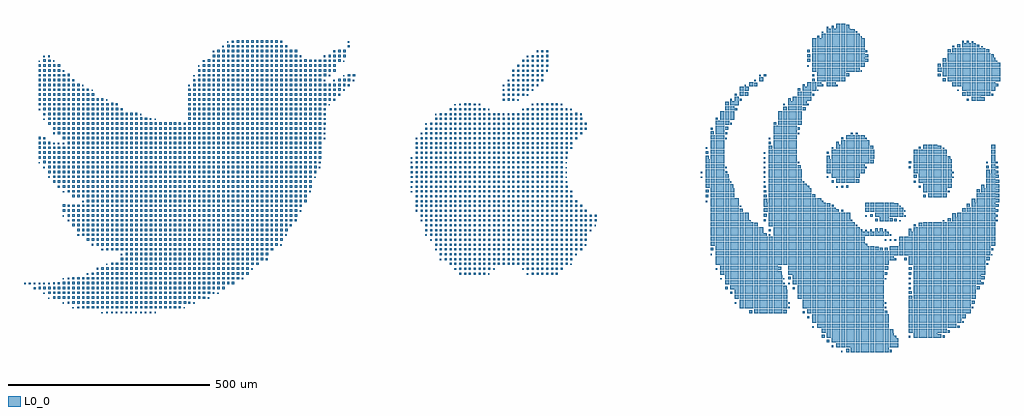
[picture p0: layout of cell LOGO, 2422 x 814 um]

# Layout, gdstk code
import gdstk
lib = gdstk.Library(unit=1e-6, precision=1e-09)
def R(c, l, rs):  # rectangles x0, y0, x1, y1
    for r in rs: c.add(gdstk.rectangle(r[:2], r[2:], *l))
def A(c, l, x, y, w, h, nx, ny, dx, dy):  # array of equal rectangles
    R(c, l, [(x+i*dx, y+j*dy, x+i*dx+w, y+j*dy+h) for i in range(nx) for j in range(ny)])
L0_0 = (0, 0)

logo = lib.new_cell('LOGO')
A(logo, L0_0, 2310, 222, 10, 10, 8, 1, 12, 0)
A(logo, L0_0, 2274, 234, 10, 10, 13, 1, 12, 0)
A(logo, L0_0, 2262, 246, 10, 10, 14, 1, 12, 0)
A(logo, L0_0, 2250, 258, 10, 10, 14, 1, 12, 0)
A(logo, L0_0, 2466, 258, 10, 10, 5, 1, 12, 0)
A(logo, L0_0, 2238, 270, 10, 10, 14, 1, 12, 0)
A(logo, L0_0, 2454, 270, 10, 10, 8, 1, 12, 0)
A(logo, L0_0, 2226, 282, 10, 10, 15, 1, 12, 0)
A(logo, L0_0, 2454, 282, 10, 10, 10, 1, 12, 0)
A(logo, L0_0, 2214, 294, 10, 10, 16, 2, 12, 12)
A(logo, L0_0, 2454, 294, 10, 10, 11, 2, 12, 12)
A(logo, L0_0, 474, 318, 3.84, 3.84, 8, 1, 12, 0)
A(logo, L0_0, 2070, 318, 10, 10, 6, 1, 12, 0)
A(logo, L0_0, 2202, 318, 10, 10, 16, 1, 12, 0)
A(logo, L0_0, 2454, 318, 10, 10, 13, 3, 12, 12)
A(logo, L0_0, 438, 330, 5.828, 5.828, 15, 1, 12, 0)
A(logo, L0_0, 2034, 330, 10, 10, 10, 2, 12, 12)
A(logo, L0_0, 2190, 330, 10, 10, 17, 3, 12, 12)
A(logo, L0_0, 378, 342, 5.828, 5.828, 23, 1, 12, 0)
A(logo, L0_0, 390, 354, 5.828, 5.828, 26, 1, 12, 0)
A(logo, L0_0, 2022, 354, 10, 10, 11, 2, 12, 12)
A(logo, L0_0, 2466, 354, 10, 10, 13, 3, 12, 12)
A(logo, L0_0, 330, 366, 5.828, 5.828, 3, 1, 12, 0)
A(logo, L0_0, 390, 366, 5.828, 5.828, 27, 1, 12, 0)
A(logo, L0_0, 2178, 366, 10, 10, 18, 2, 12, 12)
A(logo, L0_0, 294, 378, 5.828, 5.828, 39, 1, 12, 0)
A(logo, L0_0, 2010, 378, 10, 10, 11, 1, 12, 0)
A(logo, L0_0, 282, 390, 3.84, 3.84, 3, 1, 12, 0)
A(logo, L0_0, 354, 390, 6.024, 6.024, 1, 3, 0, 180)
A(logo, L0_0, 378, 390, 5.828, 5.828, 33, 1, 12, 0)
A(logo, L0_0, 1998, 390, 10, 10, 12, 2, 12, 12)
A(logo, L0_0, 2166, 390, 10, 10, 19, 2, 12, 12)
A(logo, L0_0, 2466, 390, 10, 10, 14, 2, 12, 12)
A(logo, L0_0, 402, 402, 5.828, 5.828, 32, 1, 12, 0)
A(logo, L0_0, 438, 414, 5.828, 5.828, 31, 1, 12, 0)
A(logo, L0_0, 1350, 414, 4.988, 4.988, 3, 1, 12, 0)
A(logo, L0_0, 1542, 414, 4.988, 4.988, 3, 1, 12, 0)
A(logo, L0_0, 1998, 414, 10, 10, 11, 1, 12, 0)
A(logo, L0_0, 2154, 414, 10, 10, 20, 2, 12, 12)
A(logo, L0_0, 2466, 414, 10, 10, 15, 2, 12, 12)
A(logo, L0_0, 450, 426, 5.828, 5.828, 31, 1, 12, 0)
A(logo, L0_0, 1338, 426, 4.988, 4.988, 6, 1, 12, 0)
A(logo, L0_0, 1518, 426, 4.988, 4.988, 7, 1, 12, 0)
A(logo, L0_0, 1986, 426, 10, 10, 12, 1, 12, 0)
A(logo, L0_0, 486, 438, 5.828, 5.828, 29, 1, 12, 0)
A(logo, L0_0, 1326, 438, 4.988, 4.988, 23, 1, 12, 0)
A(logo, L0_0, 1974, 438, 10, 10, 36, 1, 12, 0)
A(logo, L0_0, 2454, 438, 10, 10, 16, 2, 12, 12)
A(logo, L0_0, 510, 450, 5.828, 5.828, 28, 1, 12, 0)
A(logo, L0_0, 1314, 450, 4.988, 4.988, 26, 1, 12, 0)
A(logo, L0_0, 1974, 450, 10, 10, 37, 1, 12, 0)
A(logo, L0_0, 510, 462, 5.828, 5.828, 29, 1, 12, 0)
A(logo, L0_0, 1290, 462, 4.988, 4.988, 28, 1, 12, 0)
A(logo, L0_0, 1974, 462, 10, 10, 57, 1, 12, 0)
A(logo, L0_0, 486, 474, 5.828, 5.828, 32, 1, 12, 0)
A(logo, L0_0, 1290, 474, 4.988, 4.988, 30, 1, 12, 0)
A(logo, L0_0, 1974, 474, 10, 10, 33, 1, 12, 0)
A(logo, L0_0, 2406, 474, 10, 10, 21, 1, 12, 0)
A(logo, L0_0, 438, 486, 5.828, 5.828, 38, 2, 12, 12)
A(logo, L0_0, 1278, 486, 4.988, 4.988, 31, 2, 12, 12)
A(logo, L0_0, 1962, 486, 10, 10, 32, 2, 12, 12)
A(logo, L0_0, 2430, 486, 10, 10, 20, 2, 12, 12)
A(logo, L0_0, 414, 510, 5.828, 5.828, 41, 1, 12, 0)
A(logo, L0_0, 1278, 510, 4.988, 4.988, 32, 1, 12, 0)
A(logo, L0_0, 1962, 510, 10, 10, 11, 2, 12, 12)
A(logo, L0_0, 2118, 510, 10, 10, 24, 1, 12, 0)
A(logo, L0_0, 2454, 510, 10, 10, 18, 1, 12, 0)
A(logo, L0_0, 402, 522, 5.828, 5.828, 42, 1, 12, 0)
A(logo, L0_0, 1254, 522, 4.988, 4.988, 34, 2, 12, 12)
A(logo, L0_0, 2118, 522, 10, 10, 18, 1, 12, 0)
A(logo, L0_0, 2466, 522, 10, 10, 17, 1, 12, 0)
A(logo, L0_0, 390, 534, 5.828, 5.828, 44, 1, 12, 0)
A(logo, L0_0, 1962, 534, 10, 10, 9, 1, 12, 0)
A(logo, L0_0, 2118, 534, 10, 10, 17, 1, 12, 0)
A(logo, L0_0, 2502, 534, 10, 10, 14, 1, 12, 0)
A(logo, L0_0, 390, 546, 5.828, 5.828, 45, 1, 12, 0)
A(logo, L0_0, 1254, 546, 4.988, 4.988, 36, 1, 12, 0)
A(logo, L0_0, 1962, 546, 10, 10, 8, 2, 12, 12)
A(logo, L0_0, 2106, 546, 10, 10, 17, 2, 12, 12)
A(logo, L0_0, 2562, 546, 10, 10, 9, 2, 12, 336)
A(logo, L0_0, 378, 558, 5.8, 5.8, 3, 1, 12, 0)
A(logo, L0_0, 414, 558, 5.828, 5.828, 43, 1, 12, 0)
A(logo, L0_0, 1254, 558, 4.988, 4.988, 34, 1, 12, 0)
A(logo, L0_0, 2370, 558, 10, 10, 6, 1, 12, 0)
A(logo, L0_0, 2574, 558, 10, 10, 8, 1, 12, 0)
A(logo, L0_0, 366, 570, 5.828, 5.828, 48, 1, 12, 0)
A(logo, L0_0, 1242, 570, 4.988, 4.988, 34, 1, 12, 0)
A(logo, L0_0, 1962, 570, 10, 10, 6, 3, 12, 12)
A(logo, L0_0, 2106, 570, 10, 10, 14, 1, 12, 0)
A(logo, L0_0, 2346, 570, 10, 10, 8, 1, 12, 0)
A(logo, L0_0, 2598, 570, 10, 10, 6, 1, 12, 0)
A(logo, L0_0, 366, 582, 5.828, 5.828, 3, 1, 24, 0)
A(logo, L0_0, 426, 582, 5.828, 5.828, 44, 1, 12, 0)
A(logo, L0_0, 1242, 582, 4.988, 4.988, 33, 1, 12, 0)
A(logo, L0_0, 2094, 582, 10, 10, 13, 1, 12, 0)
A(logo, L0_0, 2346, 582, 10, 10, 6, 1, 12, 0)
A(logo, L0_0, 2610, 582, 10, 10, 5, 1, 12, 0)
A(logo, L0_0, 426, 594, 5.828, 5.828, 45, 1, 12, 0)
A(logo, L0_0, 1242, 594, 4.988, 4.988, 32, 2, 12, 144)
A(logo, L0_0, 2106, 594, 10, 10, 11, 1, 12, 0)
A(logo, L0_0, 2622, 594, 10, 10, 4, 2, 12, 12)
A(logo, L0_0, 378, 606, 5.828, 5.828, 49, 2, 12, 12)
A(logo, L0_0, 1230, 606, 4.988, 4.988, 32, 3, 12, 12)
A(logo, L0_0, 1962, 606, 10, 10, 5, 2, 12, 12)
A(logo, L0_0, 2106, 606, 10, 10, 9, 2, 12, 12)
A(logo, L0_0, 2502, 606, 10, 10, 4, 1, 12, 0)
A(logo, L0_0, 2490, 618, 10, 10, 5, 1, 12, 0)
A(logo, L0_0, 2634, 618, 10, 10, 3, 1, 12, 0)
A(logo, L0_0, 354, 630, 5.828, 5.828, 51, 1, 12, 0)
A(logo, L0_0, 1962, 630, 10, 10, 4, 1, 12, 0)
A(logo, L0_0, 2106, 630, 10, 10, 8, 1, 12, 0)
A(logo, L0_0, 2490, 630, 10, 10, 6, 1, 12, 0)
A(logo, L0_0, 2646, 630, 10, 10, 1, 3, 0, 12)
A(logo, L0_0, 2658, 630, 10, 10, 1, 9, 0, 12)
A(logo, L0_0, 342, 642, 5.828, 5.828, 53, 1, 12, 0)
A(logo, L0_0, 1230, 642, 4.988, 4.988, 31, 6, 12, 12)
A(logo, L0_0, 1950, 642, 10, 10, 5, 1, 12, 0)
A(logo, L0_0, 2106, 642, 10, 10, 7, 3, 12, 12)
A(logo, L0_0, 2274, 642, 10, 10, 4, 1, 12, 0)
A(logo, L0_0, 2478, 642, 10, 10, 7, 2, 12, 12)
A(logo, L0_0, 330, 654, 5.828, 5.828, 54, 2, 12, 12)
A(logo, L0_0, 1218, 654, 4.456, 4.456, 1, 3, 0, 12)
A(logo, L0_0, 1950, 654, 10, 10, 4, 4, 12, 12)
A(logo, L0_0, 2262, 654, 10, 10, 6, 1, 12, 0)
A(logo, L0_0, 2094, 666, 3.952, 3.952, 1, 3, 0, 12)
A(logo, L0_0, 2250, 666, 10, 10, 8, 2, 12, 12)
A(logo, L0_0, 2466, 666, 10, 10, 8, 3, 12, 12)
A(logo, L0_0, 318, 678, 5.828, 5.828, 55, 1, 12, 0)
A(logo, L0_0, 2106, 678, 10, 10, 6, 4, 12, 12)
A(logo, L0_0, 318, 690, 5.828, 5.828, 56, 1, 12, 0)
A(logo, L0_0, 2250, 690, 10, 10, 9, 1, 12, 0)
A(logo, L0_0, 306, 702, 5.828, 5.828, 57, 2, 12, 12)
A(logo, L0_0, 1962, 702, 10, 10, 3, 5, 12, 12)
A(logo, L0_0, 2262, 702, 10, 10, 9, 2, 12, 12)
A(logo, L0_0, 2466, 702, 10, 10, 7, 2, 12, 12)
A(logo, L0_0, 1230, 714, 4.988, 4.988, 32, 2, 12, 12)
A(logo, L0_0, 306, 726, 5.828, 5.828, 5, 1, 12, 0)
A(logo, L0_0, 378, 726, 5.828, 5.828, 52, 1, 12, 0)
A(logo, L0_0, 2118, 726, 10, 10, 5, 5, 12, 12)
A(logo, L0_0, 2274, 726, 10, 10, 7, 1, 12, 0)
A(logo, L0_0, 2490, 726, 10, 10, 3, 1, 12, 0)
A(logo, L0_0, 366, 738, 5.828, 5.828, 53, 3, 12, 12)
A(logo, L0_0, 2286, 738, 10, 10, 5, 1, 12, 0)
A(logo, L0_0, 1254, 750, 4.988, 4.988, 31, 1, 12, 0)
A(logo, L0_0, 2298, 750, 10, 10, 4, 1, 12, 0)
A(logo, L0_0, 1254, 762, 4.988, 4.988, 32, 1, 12, 0)
A(logo, L0_0, 342, 774, 5.828, 5.828, 55, 1, 12, 0)
A(logo, L0_0, 1266, 774, 4.988, 4.988, 32, 1, 12, 0)
A(logo, L0_0, 318, 786, 5.828, 5.828, 24, 1, 12, 0)
A(logo, L0_0, 666, 786, 5.828, 5.828, 28, 2, 12, 24)
A(logo, L0_0, 1278, 786, 4.988, 4.988, 31, 1, 12, 0)
A(logo, L0_0, 1974, 786, 10, 10, 3, 1, 12, 0)
A(logo, L0_0, 2130, 786, 10, 10, 5, 3, 12, 12)
A(logo, L0_0, 318, 798, 5.828, 5.828, 19, 1, 12, 0)
A(logo, L0_0, 678, 798, 5.828, 5.828, 27, 1, 12, 0)
A(logo, L0_0, 1278, 798, 4.988, 4.988, 30, 1, 12, 0)
A(logo, L0_0, 1986, 798, 10, 10, 3, 2, 12, 12)
A(logo, L0_0, 318, 810, 5.828, 5.828, 17, 1, 12, 0)
A(logo, L0_0, 1302, 810, 4.988, 4.988, 12, 1, 12, 0)
A(logo, L0_0, 1494, 810, 4.988, 4.988, 11, 1, 12, 0)
A(logo, L0_0, 318, 822, 5.828, 5.828, 15, 1, 12, 0)
A(logo, L0_0, 666, 822, 5.828, 5.828, 28, 2, 12, 12)
A(logo, L0_0, 1338, 822, 4.988, 4.988, 4, 1, 12, 0)
A(logo, L0_0, 1530, 822, 4.988, 4.988, 5, 1, 12, 0)
A(logo, L0_0, 2154, 822, 10, 10, 3, 1, 12, 0)
A(logo, L0_0, 306, 834, 5.828, 5.828, 14, 1, 12, 0)
A(logo, L0_0, 2154, 834, 10, 10, 4, 1, 12, 0)
A(logo, L0_0, 306, 846, 5.828, 5.828, 12, 1, 12, 0)
A(logo, L0_0, 678, 846, 5.828, 5.828, 29, 1, 12, 0)
A(logo, L0_0, 2166, 846, 10, 10, 4, 1, 12, 0)
A(logo, L0_0, 294, 858, 5.828, 5.828, 11, 1, 12, 0)
A(logo, L0_0, 678, 858, 5.828, 5.828, 30, 1, 12, 0)
A(logo, L0_0, 1458, 858, 4.988, 4.988, 3, 1, 12, 0)
A(logo, L0_0, 2178, 858, 10, 10, 3, 1, 12, 0)
A(logo, L0_0, 2598, 858, 10, 10, 5, 1, 12, 0)
A(logo, L0_0, 294, 870, 5.828, 5.828, 10, 1, 12, 0)
A(logo, L0_0, 666, 870, 5.828, 5.828, 31, 1, 12, 0)
A(logo, L0_0, 1458, 870, 4.988, 4.988, 4, 1, 12, 0)
A(logo, L0_0, 2190, 870, 10, 10, 3, 1, 12, 0)
A(logo, L0_0, 2586, 870, 10, 10, 7, 1, 12, 0)
A(logo, L0_0, 294, 882, 5.828, 5.828, 7, 2, 12, 12)
A(logo, L0_0, 678, 882, 5.828, 5.828, 28, 1, 12, 0)
A(logo, L0_0, 1470, 882, 4.988, 4.988, 5, 1, 12, 0)
A(logo, L0_0, 2202, 882, 10, 10, 3, 1, 12, 0)
A(logo, L0_0, 690, 894, 5.828, 5.828, 26, 2, 12, 12)
A(logo, L0_0, 1470, 894, 4.988, 4.988, 6, 2, 12, 12)
A(logo, L0_0, 2226, 894, 10, 10, 6, 2, 12, 12)
A(logo, L0_0, 2550, 894, 10, 10, 11, 1, 12, 0)
A(logo, L0_0, 294, 906, 5.828, 5.828, 6, 1, 12, 0)
A(logo, L0_0, 2538, 906, 10, 10, 12, 2, 12, 24)
A(logo, L0_0, 306, 918, 5.828, 5.828, 4, 2, 12, 12)
A(logo, L0_0, 702, 918, 5.828, 5.828, 27, 2, 12, 12)
A(logo, L0_0, 1482, 918, 4.988, 4.988, 6, 1, 12, 0)
A(logo, L0_0, 2214, 918, 10, 10, 10, 1, 12, 0)
A(logo, L0_0, 2526, 918, 10, 10, 13, 1, 12, 0)
A(logo, L0_0, 1494, 930, 4.988, 4.988, 5, 1, 12, 0)
A(logo, L0_0, 2214, 930, 10, 10, 11, 6, 12, 12)
A(logo, L0_0, 726, 942, 5.828, 5.828, 19, 1, 12, 0)
A(logo, L0_0, 1506, 942, 4.988, 4.988, 4, 1, 12, 0)
A(logo, L0_0, 2550, 942, 10, 10, 10, 1, 12, 0)
A(logo, L0_0, 738, 954, 5.828, 5.828, 17, 1, 12, 0)
A(logo, L0_0, 2550, 954, 10, 10, 9, 1, 12, 0)
A(logo, L0_0, 738, 966, 5.828, 5.828, 3, 1, 12, 0)
A(logo, L0_0, 798, 966, 5.828, 5.828, 8, 2, 12, 24)
A(logo, L0_0, 2562, 966, 10, 10, 7, 1, 12, 0)
A(logo, L0_0, 774, 978, 5.828, 5.828, 11, 1, 12, 0)
A(logo, L0_0, 2586, 978, 10, 10, 3, 1, 12, 0)
A(logo, L0_0, 2238, 1002, 10, 10, 8, 1, 12, 0)
A(logo, L0_0, 2250, 1014, 10, 10, 5, 1, 12, 0)
R(logo, L0_0, [(2286,222,2289.112,225.112), (2298,222,2306.46,230.46), (2406,222,2411.94,227.94), (2262,234,2266.26,238.26), (2250,246,2255.94,251.94), (2238,258,2245.424,265.424), (2418,258,2422.54,262.54), (2454,258,2457.84,261.84), (2526,258,2534.46,266.46), (2538,258,2543.128,263.128), (2406,270,2414.6,278.6), (2550,270,2555.52,275.52), (2214,282,2218.176,286.176), (2574,282,2579.52,287.52), (2586,294,2590.176,298.176), (2202,306,2206.176,310.176), (2586,306,2595.328,315.328), (450,318,453.168,321.168), (462,318,465.728,321.728), (570,318,573.728,321.728), (582,318,585.476,321.476), (2058,318,2065.116,325.116), (2142,318,2150.6,326.6), (2190,318,2195.128,323.128), (2394,318,2400.752,324.752), (378,330,381.168,333.168), (390,330,394.624,334.624), (402,330,407.576,335.576), (414,330,420.024,336.024), (426,330,432.024,336.024), (618,330,624.024,336.024), (630,330,635.828,335.828), (642,330,647.184,335.184), (654,330,657.476,333.476), (2154,330,2157.84,333.84), (2394,330,2398.26,334.26), (2610,330,2613.84,333.84), (354,342,357.168,345.168), (366,342,370.176,346.176), (654,342,660.024,348.024), (666,342,670.876,346.876), (678,342,681.728,345.728), (2022,342,2025.952,345.952), (2154,342,2157.672,345.672), (2394,342,2397.392,345.392), (2610,342,2617.116,349.116), (318,354,321.168,357.168), (330,354,335.828,359.828), (342,354,348.024,360.024), (354,354,359.828,359.828), (366,354,371.8,359.8), (378,354,383.8,359.8), (702,354,707.576,359.576), (714,354,718.176,358.176), (2178,354,2187.552,363.552), (2454,354,2461.928,361.928), (306,366,309.476,369.476), (318,366,324.024,372.024), (366,366,371.8,371.8), (378,366,383.8,371.8), (714,366,720.024,372.024), (726,366,730.512,370.512), (738,366,741.14,369.14), (2010,366,2015.52,371.52), (2454,366,2460.752,372.752), (282,378,286.876,382.876), (1998,378,2004.388,384.388), (2142,378,2150.46,386.46), (2166,378,2170.54,382.54), (2454,378,2459.1,383.1), (2622,378,2629.76,385.76), (258,390,262.4,394.4), (270,390,274.4,394.4), (318,390,322.176,394.176), (330,390,334.876,394.876), (342,390,347.184,395.184), (366,390,372.024,396.024), (774,390,780.024,396.024), (2142,390,2146.176,394.176), (2154,390,2157.952,393.952), (2454,390,2458.456,394.456), (2634,390,2639.52,395.52), (354,402,357.14,405.14), (366,402,369.84,405.84), (378,402,383.212,407.212), (390,402,396.024,408.024), (786,402,791.772,407.772), (798,402,801.728,405.728), (1986,402,1989.112,405.112), (2142,402,2145.112,405.112), (2154,402,2161.116,409.116), (2394,402,2397.392,405.392), (2454,402,2458.456,406.456), (2634,402,2641.928,409.928), (414,414,417.84,417.84), (426,414,431.184,419.184), (810,414,815.576,419.576), (1338,414,1342.904,418.904), (1386,414,1391.1,419.1), (1398,414,1402.904,418.904), (1410,414,1413.112,417.112), (1506,414,1509.672,417.672), (1518,414,1522.54,418.54), (1530,414,1535.1,419.1), (1578,414,1583.1,419.1), (1986,414,1995.552,423.552), (2130,414,2137.928,421.928), (2394,414,2399.688,419.688), (2454,414,2459.52,419.52), (438,426,442.624,430.624), (822,426,825.476,429.476), (1326,426,1330.26,430.26), (1410,426,1415.1,431.1), (1422,426,1426.456,430.456), (1494,426,1497.952,429.952), (1506,426,1511.1,431.1), (1974,426,1978.456,430.456), (2130,426,2137.368,433.368), (2394,426,2402.46,434.46), (2454,426,2460.388,432.388), (462,438,465.168,441.168), (474,438,480.024,444.024), (834,438,840.024,444.024), (1314,438,1319.128,443.128), (1602,438,1607.128,443.128), (1614,438,1617.392,441.392), (2646,438,2650.456,442.456), (498,450,504.024,456.024), (846,450,852.024,456.024), (858,450,862.624,454.624), (1290,450,1293.392,453.392), (1302,450,1307.1,455.1), (2418,450,2423.128,455.128), (2442,450,2448.08,456.08), (2646,450,2654.46,458.46), (498,462,501.728,465.728), (858,462,864.024,468.024), (1626,462,1630.26,466.26), (1962,462,1965.308,465.308), (2658,462,2661.112,465.112), (450,474,454.176,478.176), (462,474,467.184,479.184), (474,474,480.024,480.024), (870,474,876.024,480.024), (1278,474,1281.952,477.952), (1962,474,1968.388,480.388), (2370,474,2378.908,482.908), (2382,474,2389.116,481.116), (2394,474,2401.116,481.116), (2658,474,2663.688,479.688), (426,486,430.456,490.456), (894,486,897.168,489.168), (1650,486,1653.392,489.392), (2346,486,2350.988,490.988), (414,498,419.772,503.772), (426,498,432.08,504.08), (894,498,899.772,503.772), (1266,498,1269.672,501.672), (1650,498,1654.708,502.708), (2394,498,2397.392,501.392), (2406,498,2410.26,502.26), (2418,498,2422.26,502.26), (390,510,394.512,514.512), (402,510,408.024,516.024), (906,510,910.176,514.176), (1254,510,1257.84,513.84), (1266,510,1271.1,515.1), (2094,510,2100.808,516.808), (2106,510,2110.456,514.456), (2406,510,2410.54,514.54), (390,522,396.024,528.024), (906,522,912.024,528.024), (1662,522,1665.672,525.672), (2106,522,2110.54,526.54), (2334,522,2338.456,526.456), (2346,522,2349.392,525.392), (2358,522,2362.26,526.26), (2370,522,2377.116,529.116), (2382,522,2389.116,529.116), (2394,522,2398.26,526.26), (2454,522,2459.52,527.52), (378,534,384.024,540.024), (918,534,922.456,538.456), (1662,534,1667.128,539.128), (1674,534,1677.392,537.392), (2070,534,2079.16,543.16), (2106,534,2115.552,543.552), (2322,534,2325.84,537.84), (2466,534,2471.52,539.52), (2478,534,2486.6,542.6), (2490,534,2499.552,543.552), (366,546,370.624,550.624), (378,546,383.8,551.8), (930,546,935.212,551.212), (1242,546,1246.26,550.26), (2058,546,2061.392,549.392), (2094,546,2099.128,551.128), (2310,546,2313.672,549.672), (2370,546,2376.388,552.388), (2382,546,2392,556), (2394,546,2404,556), (2406,546,2414.46,554.46), (2418,546,2424.22,552.22), (2430,546,2433.392,549.392), (2538,546,2541.112,549.112), (2550,546,2557.928,553.928), (2670,546,2673.84,549.84), (354,558,357.168,561.168), (366,558,372.024,564.024), (930,558,936.024,564.024), (1242,558,1247.1,563.1), (1662,558,1667.1,563.1), (1674,558,1678.708,562.708), (2094,558,2100.752,564.752), (2346,558,2349.672,561.672), (2358,558,2363.688,563.688), (2442,558,2445.952,561.952), (2562,558,2569.928,565.928), (2670,558,2674.708,562.708), (942,570,946.176,574.176), (1230,570,1234.456,574.456), (1650,570,1654.54,574.54), (2034,570,2041.928,577.928), (2094,570,2103.16,579.16), (2274,570,2280.388,576.388), (2286,570,2290.456,574.456), (2442,570,2445.308,573.308), (2586,570,2594.6,578.6), (2670,570,2675.94,575.94), (354,582,360.304,588.304), (378,582,383.8,587.8), (402,582,408.024,588.024), (1230,582,1235.1,587.1), (1638,582,1643.1,587.1), (2034,582,2037.392,585.392), (2250,582,2258.908,590.908), (2262,582,2266.904,586.904), (2418,582,2427.552,591.552), (2430,582,2433.308,585.308), (2598,582,2605.424,589.424), (2670,582,2676.388,588.388), (402,594,405.84,597.84), (414,594,419.8,599.8), (1230,594,1235.1,599.1), (1626,594,1630.456,598.456), (1950,594,1953.392,597.392), (2094,594,2102.908,602.908), (2238,594,2241.392,597.392), (2610,594,2618.46,602.46), (2670,594,2677.76,601.76), (1614,606,1619.128,611.128), (1950,606,1955.688,611.688), (2094,606,2100.752,612.752), (2214,606,2221.116,613.116), (2490,606,2495.688,611.688), (2670,606,2678.46,614.46), (354,618,357.476,621.476), (366,618,371.576,623.576), (966,618,969.728,621.728), (1218,618,1221.112,621.112), (1614,618,1618.708,622.708), (1950,618,1956.752,624.752), (2094,618,2099.94,623.94), (2550,618,2554.708,622.708), (2622,618,2629.424,625.424), (2670,618,2678.6,626.6), (342,630,346.456,634.456), (966,630,972.08,636.08), (1218,630,1221.672,633.672), (1950,630,1959.16,639.16), (2010,630,2017.76,637.76), (2094,630,2098.54,634.54), (2202,630,2206.988,634.988), (2274,630,2277.392,633.392), (2286,630,2291.128,635.128), (2298,630,2303.94,635.94), (2478,630,2483.128,635.128), (2634,630,2640.808,636.808), (2670,630,2678.6,638.6), (330,642,336.024,648.024), (1218,642,1222.26,646.26), (1602,642,1605.672,645.672), (2010,642,2013.392,645.392), (2094,642,2097.84,645.84), (2190,642,2194.176,646.176), (2262,642,2267.94,647.94), (2322,642,2331.16,651.16), (2466,642,2470.456,646.456), (2670,642,2677.928,649.928), (318,654,321.728,657.728), (978,654,981.476,657.476), (1602,654,1605.308,657.308), (1938,654,1941.112,657.112), (1998,654,2006.908,662.908), (2094,654,2097.84,657.84), (2250,654,2253.84,657.84), (2466,654,2473.424,661.424), (2562,654,2565.392,657.392), (2670,654,2677.424,661.424), (318,666,324.024,672.024), (978,666,983.212,671.212), (1602,666,1605.112,669.112), (1938,666,1941.112,669.112), (1998,666,2003.1,671.1), (2562,666,2565.308,669.308), (2646,666,2654.46,674.46), (2670,666,2676.22,672.22), (306,678,309.168,681.168), (978,678,984.024,684.024), (990,678,993.14,681.14), (1602,678,1605.112,681.112), (1998,678,2001.952,681.952), (2178,678,2185.76,685.76), (2346,678,2349.672,681.672), (2454,678,2458.456,682.456), (2646,678,2652.22,684.22), (2670,678,2675.52,683.52), (294,690,297.14,693.14), (306,690,312.024,696.024), (990,690,994.624,694.624), (1218,690,1221.952,693.952), (1602,690,1605.392,693.392), (2178,690,2182.26,694.26), (2358,690,2366.6,698.6), (2454,690,2459.52,695.52), (2646,690,2649.952,693.952), (2670,690,2673.84,693.84), (294,702,299.772,707.772), (990,702,996.024,708.024), (1218,702,1221.308,705.308), (1602,702,1606.26,706.26), (1950,702,1957.368,709.368), (2094,702,2097.672,705.672), (2250,702,2257.424,709.424), (2550,702,2555.94,707.94), (294,714,300.024,720.024), (990,714,996.08,720.08), (1950,714,1956.08,720.08), (2094,714,2097.308,717.308), (2250,714,2254.708,718.708), (294,726,300.024,732.024), (366,726,371.8,731.8), (1614,726,1618.708,730.708), (1950,726,1953.84,729.84), (2106,726,2114.46,734.46), (2262,726,2266.176,730.176), (2358,726,2365.928,733.928), (2478,726,2483.94,731.94), (2526,726,2533.928,733.928), (2538,726,2541.308,729.308), (294,738,299.828,743.828), (306,738,311.828,743.828), (318,738,323.576,743.576), (330,738,333.84,741.84), (342,738,345.168,741.168), (354,738,357.896,741.896), (1230,738,1234.904,742.904), (2106,738,2111.52,743.52), (2274,738,2279.94,743.94), (2346,738,2355.16,747.16), (294,750,300.024,756.024), (306,750,310.456,754.456), (1002,750,1005.168,753.168), (1230,750,1233.84,753.84), (1242,750,1247.1,755.1), (1626,750,1630.54,754.54), (1998,750,2001.392,753.392), (2106,750,2110.176,754.176), (2286,750,2290.988,754.988), (2346,750,2349.952,753.952), (330,762,334.876,766.876), (342,762,348.024,768.024), (354,762,359.8,767.8), (1002,762,1005.84,765.84), (1242,762,1245.672,765.672), (1638,762,1643.1,767.1), (1962,762,1969.928,769.928), (1974,762,1984,772), (1986,762,1996,772), (1998,762,2003.688,767.688), (2178,762,2182.176,766.176), (2310,762,2314.176,766.176), (2322,762,2326.54,766.54), (330,774,336.024,780.024), (1002,774,1005.896,777.896), (1254,774,1259.1,779.1), (1650,774,1654.54,778.54), (1962,774,1967.1,779.1), (1974,774,1984,784), (1986,774,1996,784), (1998,774,2005.424,781.424), (2178,774,2183.52,779.52), (606,786,612.024,792.024), (618,786,624.08,792.08), (630,786,635.828,791.828), (642,786,647.576,791.576), (654,786,658.876,790.876), (1002,786,1006.456,790.456), (1254,786,1257.392,789.392), (1266,786,1271.1,791.1), (1650,786,1655.1,791.1), (2010,786,2014.456,790.456), (2118,786,2124.388,792.388), (306,798,309.14,801.14), (546,798,552.024,804.024), (558,798,563.772,803.772), (570,798,573.896,801.896), (582,798,585.168,801.168), (666,798,672.08,804.08), (1002,798,1006.512,802.512), (1638,798,1643.1,803.1), (1974,798,1979.94,803.94), (306,810,310.876,814.876), (522,810,528.024,816.024), (534,810,539.576,815.576), (546,810,549.476,813.476), (1002,810,1006.512,814.512), (1278,810,1281.112,813.112), (1290,810,1295.1,815.1), (1446,810,1450.176,814.176), (1458,810,1462.26,814.26), (1470,810,1475.1,815.1), (1482,810,1487.1,815.1), (1626,810,1631.128,815.128), (1638,810,1642.176,814.176), (294,822,298.176,826.176), (306,822,312.08,828.08), (498,822,503.212,827.212), (1002,822,1006.456,826.456), (1314,822,1318.904,826.904), (1326,822,1331.128,827.128), (1386,822,1391.1,827.1), (1398,822,1402.988,826.988), (1410,822,1413.112,825.112), (1494,822,1497.672,825.672), (1506,822,1511.1,827.1), (1518,822,1523.1,827.1), (1590,822,1595.1,827.1), (1602,822,1606.54,826.54), (1614,822,1617.672,825.672), (1998,822,2008,832), (2010,822,2020,832), (2022,822,2027.52,827.52), (2142,822,2150.46,830.46), (2190,822,2197.424,829.424), (294,834,299.212,839.212), (474,834,480.024,840.024), (486,834,490.876,838.876), (1002,834,1007.576,839.576), (1014,834,1017.168,837.168), (1326,834,1329.112,837.112), (1338,834,1342.26,838.26), (1350,834,1354.904,838.904), (1362,834,1366.904,838.904), (1374,834,1378.456,838.456), (1386,834,1389.952,837.952), (1518,834,1521.672,837.672), (1530,834,1534.708,838.708), (1542,834,1546.988,838.988), (1554,834,1559.128,839.128), (1566,834,1570.988,838.988), (1578,834,1582.708,838.708), (1590,834,1593.84,837.84), (1998,834,2007.328,843.328), (2010,834,2020,844), (2022,834,2032,844), (2142,834,2145.672,837.672), (2202,834,2205.84,837.84), (294,846,300.024,852.024), (450,846,455.184,851.184), (462,846,465.168,849.168), (666,846,672.024,852.024), (1026,846,1030.4,850.4), (1446,846,1450.54,850.54), (1458,846,1463.1,851.1), (1470,846,1474.26,850.26), (1482,846,1485.672,849.672), (2010,846,2014.54,850.54), (2022,846,2032,856), (2034,846,2038.988,850.988), (2154,846,2160.22,852.22), (2598,846,2602.176,850.176), (2610,846,2620,856), (2622,846,2632,856), (2634,846,2642.46,854.46), (426,858,432.024,864.024), (666,858,672.08,864.08), (1038,858,1042.624,862.624), (1446,858,1450.708,862.708), (1494,858,1499.1,863.1), (1506,858,1509.392,861.392), (2022,858,2027.128,863.128), (2034,858,2044,868), (2046,858,2054.908,866.908), (2214,858,2218.904,862.904), (2586,858,2595.16,867.16), (2658,858,2662.988,862.988), (414,870,419.184,875.184), (426,870,429.14,873.14), (1038,870,1044.024,876.024), (1050,870,1054.512,874.512), (1446,870,1450.26,874.26), (1506,870,1511.128,875.128), (1518,870,1521.952,873.952), (2034,870,2044,880), (2046,870,2056,880), (2178,870,2184.808,876.808), (2226,870,2229.308,873.308), (2574,870,2577.112,873.112), (378,882,383.8,887.8), (390,882,395.772,887.772), (402,882,405.476,885.476), (666,882,669.728,885.728), (1014,882,1019.772,887.772), (1026,882,1031.828,887.828), (1038,882,1043.828,887.828), (1050,882,1055.8,887.8), (1062,882,1066.4,886.4), (1446,882,1449.308,885.308), (1458,882,1463.1,887.1), (1530,882,1533.952,885.952), (2046,882,2049.308,885.308), (2058,882,2068,892), (2070,882,2077.76,889.76), (2190,882,2194.988,886.988), (2238,882,2241.952,885.952), (2250,882,2260,892), (2262,882,2272,892), (2274,882,2277.672,885.672), (2670,882,2675.94,887.94), (378,894,382.624,898.624), (678,894,682.456,898.456), (1002,894,1005.728,897.728), (1026,894,1029.728,897.728), (1038,894,1043.576,899.576), (1050,894,1055.828,899.828), (1062,894,1067.828,899.828), (1074,894,1077.168,897.168), (1458,894,1461.84,897.84), (1542,894,1546.904,898.904), (2070,894,2073.672,897.672), (2082,894,2092,904), (2214,894,2220.22,900.22), (2538,894,2545.424,901.424), (366,906,372.024,912.024), (678,906,681.14,909.14), (1002,906,1008.024,912.024), (1014,906,1018.512,910.512), (1050,906,1053.14,909.14), (1062,906,1067.184,911.184), (1074,906,1079.772,911.772), (1542,906,1547.1,911.1), (2082,906,2086.54,910.54), (2094,906,2099.688,911.688), (2214,906,2219.52,911.52), (2298,906,2305.424,913.424), (2526,906,2532.752,912.752), (294,918,300.08,924.08), (354,918,357.476,921.476), (690,918,695.8,923.8), (1026,918,1031.212,923.212), (1470,918,1474.456,922.456), (1554,918,1557.84,921.84), (2334,918,2337.392,921.392), (294,930,299.576,935.576), (690,930,693.476,933.476), (1026,930,1032.024,936.024), (1482,930,1486.904,934.904), (1554,930,1558.54,934.54), (2202,930,2205.84,933.84), (2526,930,2533.368,937.368), (294,942,297.14,945.14), (306,942,312.024,948.024), (318,942,323.8,947.8), (330,942,333.476,945.476), (702,942,706.512,946.512), (714,942,720.024,948.024), (954,942,960.024,948.024), (966,942,971.772,947.772), (978,942,983.828,947.828), (990,942,995.828,947.828), (1002,942,1007.8,947.8), (1014,942,1019.828,947.828), (1026,942,1031.828,947.828), (1038,942,1044.08,948.08), (1050,942,1053.168,945.168), (1494,942,1498.904,946.904), (1554,942,1559.128,947.128), (2202,942,2209.424,949.424), (2346,942,2353.424,949.424), (2538,942,2546.908,950.908), (2670,942,2673.308,945.308), (306,954,309.476,957.476), (318,954,322.176,958.176), (726,954,732.024,960.024), (942,954,946.008,958.008), (1002,954,1005.896,957.896), (1014,954,1019.184,959.184), (1026,954,1032.024,960.024), (1038,954,1043.828,959.828), (1050,954,1056.024,960.024), (1506,954,1509.392,957.392), (1518,954,1522.708,958.708), (1530,954,1534.988,958.988), (1542,954,1546.988,958.988), (1554,954,1559.1,959.1), (2202,954,2209.368,961.368), (2346,954,2353.116,961.116), (2658,954,2664.752,960.752), (726,966,729.728,969.728), (774,966,779.8,971.8), (786,966,791.8,971.8), (894,966,899.8,971.8), (906,966,911.828,971.828), (918,966,923.828,971.828), (930,966,935.8,971.8), (1026,966,1030.456,970.456), (1038,966,1044.08,972.08), (1050,966,1055.828,971.828), (1530,966,1534.54,970.54), (1542,966,1547.1,971.1), (1554,966,1559.128,971.128), (2202,966,2207.94,971.94), (2346,966,2351.128,971.128), (2550,966,2557.76,973.76), (2646,966,2652.752,972.752), (750,978,753.476,981.476), (762,978,768.08,984.08), (906,978,910.876,982.876), (1062,978,1066.876,982.876), (2562,978,2566.456,982.456), (2574,978,2581.76,985.76), (2622,978,2628.08,984.08), (2634,978,2637.308,981.308), (762,990,765.476,993.476), (774,990,778.512,994.512), (786,990,792.024,996.024), (894,990,898.456,994.456), (1062,990,1065.14,993.14), (2586,990,2590.176,994.176), (2598,990,2602.54,994.54), (2610,990,2613.672,993.672), (2226,1002,2231.1,1007.1), (2334,1002,2337.392,1005.392), (2238,1014,2241.308,1017.308), (2310,1014,2319.552,1023.552), (2322,1014,2326.176,1018.176), (2250,1026,2253.392,1029.392), (2262,1026,2267.52,1031.52), (2274,1026,2284,1036), (2286,1026,2296,1036), (2298,1026,2305.76,1033.76)])

lib.write_gds('LOGO.gds')
